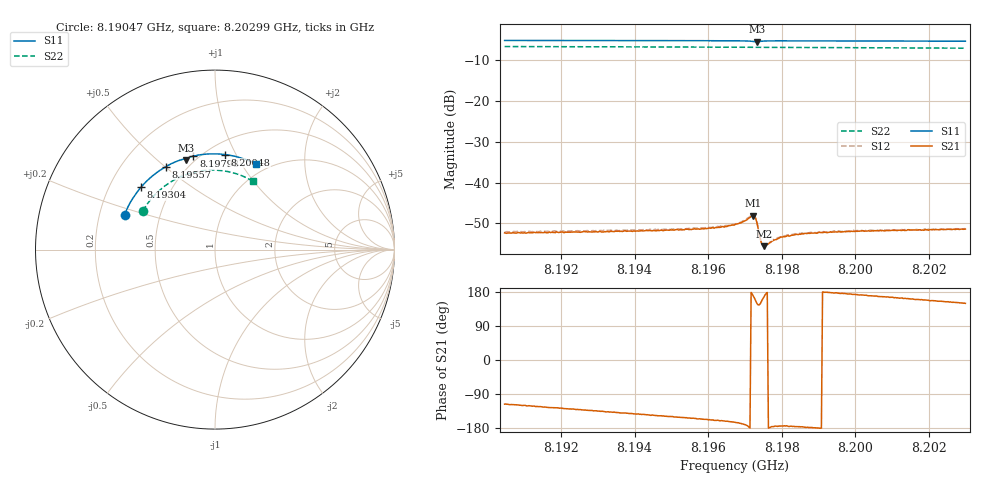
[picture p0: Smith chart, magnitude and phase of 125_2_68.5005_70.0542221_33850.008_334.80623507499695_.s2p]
#  HZ  S  RI  R  50.00
! Rohde & Schwarz Vector Network Analyzer
! Rohde-Schwarz,ZNB20-2Port,1311601062101988,3.16
! Created: UTC 3/20/2024, 5:09:16 PM
! freq[Hz]  re:S11  im:S11  re:S21  im:S21  re:S12  im:S12  re:S22  im:S22
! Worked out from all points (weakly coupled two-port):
!   401 points, 8.19047 GHz to 8.20299 GHz, reference 50 ohm
!   highest |S21| = -48.10 dB at 8.19723 GHz (marker M1); lowest = -55.5 dB at 8.19751 GHz (marker M2)
!   lowest |S11| = -5.6 dB at 8.19732 GHz (marker M3), VSWR 3.19, Z = 22.8 + j31.2 ohm
!   |S11| at or under -10 dB: nowhere
!   |S22| runs from -7.2 to -6.8 dB; largest |S21 - S12| = 0.00022
!   S11 on the Smith chart (normalised r, x): 8.19047 GHz: 0.31, +0.17; 8.19304 GHz: 0.34, +0.33; 8.19557 GHz: 0.39, +0.50; 8.19798 GHz: 0.47, +0.68; 8.20048 GHz: 0.61, +0.91; 8.20299 GHz: 0.87, +1.16
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8.190472e9  -0.5042 0.1954  -0.00109 -0.00217  -0.00118 -0.00221  -0.402 0.2152
8.192568e9  -0.432 0.3232  -0.00166 -0.00186  -0.00175 -0.00185  -0.3323 0.3083
8.193037e9  -0.4112 0.3487  -0.00178 -0.00179  -0.00189 -0.00176  -0.3134 0.3266
8.194664e9  -0.3276 0.427  -0.00217 -0.0014  -0.0023 -0.00138  -0.2405 0.3808
8.195571e9  -0.2741 0.4623  -0.00241 -0.00119  -0.00248 -0.00112  -0.1953 0.4043
8.196228e9  -0.2325 0.4838  -0.00264 -0.000989  -0.00273 -0.00091  -0.1611 0.4179
8.196729e9  -0.1986 0.4974  -0.00295 -0.000821  -0.00304 -0.000717  -0.1341 0.4263
8.196948e9  -0.1823 0.5022  -0.00326 -0.000643  -0.00337 -0.000511  -0.1222 0.4296
8.197167e9  -0.1642 0.5031  -0.00384 0.000118  -0.00391 0.00028  -0.1101 0.4323
8.197229e9  -0.1598 0.5006  -0.00385 0.000796  -0.00386 0.000947  -0.1068 0.433
8.197261e9  -0.1588 0.4987  -0.00365 0.00114  -0.00369 0.00136  -0.105 0.4332
8.197323e9  -0.16 0.4972  -0.00279 0.00165  -0.0028 0.00179  -0.1017 0.4341
8.197448e9  -0.1588 0.5048  -0.00164 0.000778  -0.00162 0.000852  -0.0949 0.4355
8.197511e9  -0.1549 0.5086  -0.00162 0.000421  -0.00162 0.000442  -0.0915 0.4361
8.197574e9  -0.1502 0.5114  -0.00172 0.000141  -0.00174 0.000242  -0.0879 0.4369
8.197824e9  -0.1315 0.5183  -0.002 -0.0002  -0.00203 -0.000125  -0.074 0.4389
8.19798e9  -0.12 0.5212  -0.00215 -0.000225  -0.00217 -0.000133  -0.065 0.4402
8.198199e9  -0.1043 0.5246  -0.0022 -0.000172  -0.00231 -0.000134  -0.0528 0.4416
8.198825e9  -0.0598 0.531  -0.00241 -7.7e-05  -0.00245 4.79e-05  -0.0173 0.4432
8.200483e9  0.0575 0.5294  -0.00251 0.000492  -0.00253 0.000616  0.0765 0.4337
8.200921e9  0.0881 0.5246  -0.00251 0.000656  -0.00252 0.00078  0.1007 0.4279
8.202986e9  0.2263 0.4785  -0.00232 0.00137  -0.0023 0.00147  0.2095 0.3816
